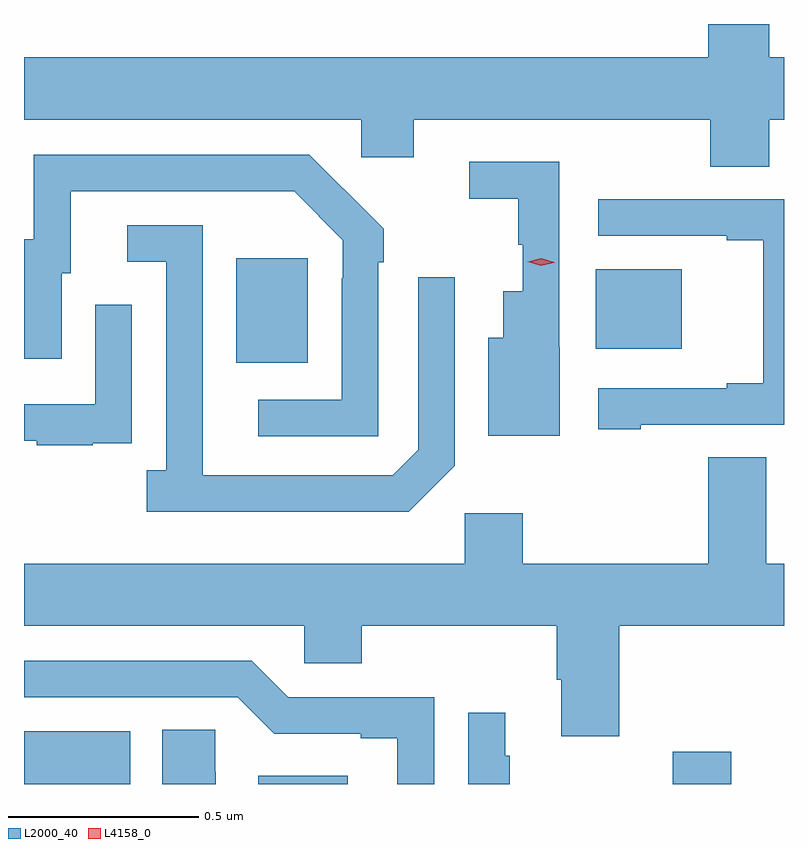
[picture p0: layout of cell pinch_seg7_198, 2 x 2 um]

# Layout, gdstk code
import gdstk
lib = gdstk.Library(unit=1e-6, precision=1e-09)
def R(c, l, rs):  # rectangles x0, y0, x1, y1
    for r in rs: c.add(gdstk.rectangle(r[:2], r[2:], *l))
def P(c, l, *ps):  # polygons
    for p in ps: c.add(gdstk.Polygon(p, *l))
L2000_40 = (2000, 40)
L4158_0 = (4158, 0)

pinch_seg7_198 = lib.new_cell('pinch_seg7_198')
R(pinch_seg7_198, L2000_40, [(1102.696,1017.516,1102.975,1017.655), (1103.312,1017.516,1103.548,1017.538), (1104.403,1017.516,1104.557,1017.601), (1103.255,1018.625,1103.443,1018.9), (1104.2,1018.661,1104.427,1018.87)])
P(pinch_seg7_198, L2000_40, [(1104.657,1019.264),(1104.696,1019.264),(1104.696,1019.428),(1104.657,1019.428),(1104.657,1019.516),(1104.497,1019.516),(1104.497,1019.428),(1102.696,1019.428),(1102.696,1019.264),(1103.583,1019.264),(1103.583,1019.166),(1103.722,1019.166),(1103.722,1019.264),(1104.502,1019.264),(1104.502,1019.14),(1104.657,1019.14)],
  [(1103.628,1018.889),(1103.643,1018.889),(1103.643,1018.977),(1103.538,1019.082),(1103.537,1019.081),(1103.446,1019.172),(1102.722,1019.172),(1102.722,1018.95),(1102.697,1018.95),(1102.697,1018.831),(1102.696,1018.831),(1102.696,1018.635),(1102.795,1018.635),(1102.795,1018.86),(1102.819,1018.86),(1102.819,1019.076),(1103.407,1019.076),(1103.535,1018.947),(1103.535,1018.847),(1103.532,1018.847),(1103.532,1018.527),(1103.313,1018.527),(1103.313,1018.431),(1103.628,1018.431)],
  [(1104.106,1018.665),(1104.105,1018.665),(1104.105,1019.154),(1103.868,1019.154),(1103.868,1019.056),(1103.997,1019.056),(1103.997,1018.935),(1104.008,1018.935),(1104.008,1018.813),(1103.957,1018.813),(1103.957,1018.69),(1103.918,1018.69),(1103.918,1018.433),(1104.106,1018.433)],
  [(1104.319,1018.461),(1104.696,1018.461),(1104.696,1019.055),(1104.207,1019.055),(1104.207,1018.959),(1104.545,1018.959),(1104.545,1018.947),(1104.641,1018.947),(1104.641,1018.57),(1104.545,1018.57),(1104.545,1018.557),(1104.207,1018.557),(1104.207,1018.449),(1104.319,1018.449)],
  [(1103.829,1018.353),(1103.829,1018.849),(1103.733,1018.849),(1103.733,1018.395),(1103.667,1018.329),(1103.167,1018.329),(1103.167,1018.529),(1103.166,1018.529),(1103.166,1018.986),(1102.968,1018.986),(1102.968,1018.89),(1103.07,1018.89),(1103.07,1018.342),(1103.019,1018.342),(1103.019,1018.232),(1103.708,1018.232)],
  [(1102.877,1018.413),(1102.979,1018.413),(1102.979,1018.522),(1102.98,1018.522),(1102.98,1018.777),(1102.884,1018.777),(1102.884,1018.515),(1102.696,1018.515),(1102.696,1018.419),(1102.729,1018.419),(1102.729,1018.407),(1102.877,1018.407)],
  [(1104.263,1017.932),(1104.696,1017.932),(1104.696,1018.096),(1104.649,1018.096),(1104.649,1018.376),(1104.497,1018.376),(1104.497,1018.096),(1104.008,1018.096),(1104.008,1018.228),(1103.856,1018.228),(1103.856,1018.096),(1102.696,1018.096),(1102.696,1017.932),(1103.433,1017.932),(1103.433,1017.834),(1103.585,1017.834),(1103.585,1017.932),(1104.098,1017.932),(1104.098,1017.79),(1104.11,1017.79),(1104.11,1017.642),(1104.263,1017.642)],
  [(1103.775,1017.744),(1103.391,1017.744),(1103.295,1017.84),(1102.696,1017.84),(1102.696,1017.744),(1103.259,1017.744),(1103.355,1017.648),(1103.582,1017.648),(1103.582,1017.636),(1103.678,1017.636),(1103.678,1017.516),(1103.775,1017.516)],
  [(1103.974,1017.59),(1103.962,1017.59),(1103.962,1017.703),(1103.865,1017.703),(1103.865,1017.516),(1103.974,1017.516)],
  [(1103.2,1017.548),(1103.199,1017.548),(1103.199,1017.659),(1103.06,1017.659),(1103.06,1017.516),(1103.2,1017.516)])
P(pinch_seg7_198, L4158_0, [(1104.056,1018.88),(1104.021,1018.891),(1104.021,1018.891),(1104.021,1018.891),(1104.057,1018.9),(1104.091,1018.889),(1104.092,1018.888),(1104.091,1018.888)])

lib.write_gds('pinch_seg7_198.gds')
